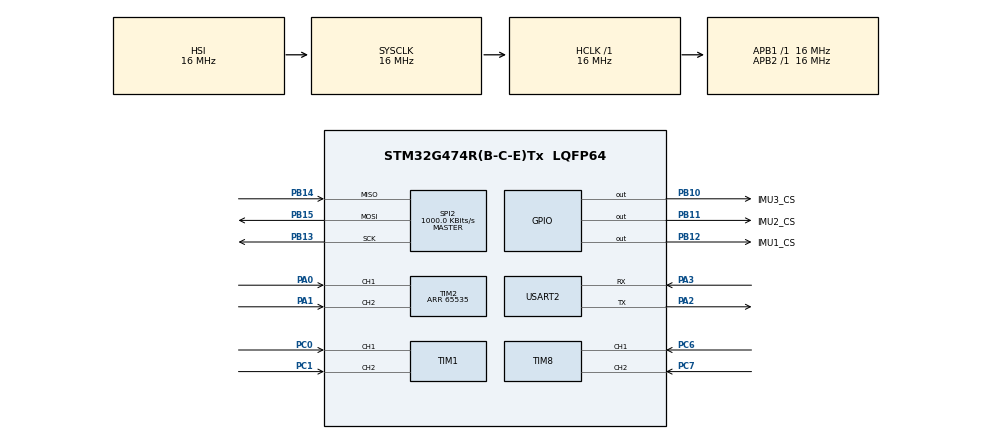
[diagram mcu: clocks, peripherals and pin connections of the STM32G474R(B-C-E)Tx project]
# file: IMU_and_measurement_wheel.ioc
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Dma.Request0=SPI2_RX
Dma.Request1=SPI2_TX
Dma.SPI2_RX.0.Direction=DMA_PERIPH_TO_MEMORY
Dma.SPI2_RX.0.EventEnable=DISABLE
Dma.SPI2_RX.0.Instance=DMA1_Channel1
Dma.SPI2_RX.0.MemDataAlignment=DMA_MDATAALIGN_BYTE
Dma.SPI2_RX.0.MemInc=DMA_MINC_ENABLE
Dma.SPI2_RX.0.Mode=DMA_NORMAL
Dma.SPI2_RX.0.PeriphDataAlignment=DMA_PDATAALIGN_BYTE
Dma.SPI2_RX.0.PeriphInc=DMA_PINC_DISABLE
Dma.SPI2_RX.0.Polarity=HAL_DMAMUX_REQ_GEN_RISING
Dma.SPI2_RX.0.Priority=DMA_PRIORITY_LOW
Dma.SPI2_RX.0.RequestNumber=1
Dma.SPI2_RX.0.SignalID=NONE
Dma.SPI2_RX.0.SyncEnable=DISABLE
Dma.SPI2_RX.0.SyncPolarity=HAL_DMAMUX_SYNC_NO_EVENT
Dma.SPI2_RX.0.SyncRequestNumber=1
Dma.SPI2_RX.0.SyncSignalID=NONE
Dma.SPI2_TX.1.Direction=DMA_MEMORY_TO_PERIPH
Dma.SPI2_TX.1.EventEnable=DISABLE
Dma.SPI2_TX.1.Instance=DMA1_Channel2
Dma.SPI2_TX.1.MemDataAlignment=DMA_MDATAALIGN_BYTE
Dma.SPI2_TX.1.MemInc=DMA_MINC_ENABLE
Dma.SPI2_TX.1.Mode=DMA_NORMAL
Dma.SPI2_TX.1.PeriphDataAlignment=DMA_PDATAALIGN_BYTE
Dma.SPI2_TX.1.PeriphInc=DMA_PINC_DISABLE
Dma.SPI2_TX.1.Polarity=HAL_DMAMUX_REQ_GEN_RISING
Dma.SPI2_TX.1.Priority=DMA_PRIORITY_LOW
Dma.SPI2_TX.1.RequestNumber=1
Dma.SPI2_TX.1.SignalID=NONE
Dma.SPI2_TX.1.SyncEnable=DISABLE
Dma.SPI2_TX.1.SyncPolarity=HAL_DMAMUX_SYNC_NO_EVENT
Dma.SPI2_TX.1.SyncRequestNumber=1
Dma.SPI2_TX.1.SyncSignalID=NONE
Mcu.Family=STM32G4
Mcu.Name=STM32G474R(B-C-E)Tx
Mcu.Package=LQFP64
NVIC.DMA1_Channel1_IRQn=true\:0\:0\:false\:false\:true\:false\:true\:true
NVIC.DMA1_Channel2_IRQn=true\:0\:0\:false\:false\:true\:false\:true\:true
NVIC.PriorityGroup=NVIC_PRIORITYGROUP_4
NVIC.SPI2_IRQn=true\:0\:0\:false\:false\:true\:true\:true\:true
NVIC.TIM6_DAC_IRQn=true\:0\:0\:false\:false\:true\:true\:true\:true
PA0.Signal=S_TIM2_CH1
PA1.Signal=S_TIM2_CH2
PA13.Mode=Serial_Wire
PA13.Signal=SYS_JTMS-SWDIO
PA14.Mode=Serial_Wire
PA14.Signal=SYS_JTCK-SWCLK
PA2.Mode=Asynchronous
PA2.Signal=USART2_TX
PA3.Mode=Asynchronous
PA3.Signal=USART2_RX
PB10.GPIO_Label=IMU3_CS
PB10.PinState=GPIO_PIN_SET
PB10.Signal=GPIO_Output
PB11.GPIO_Label=IMU2_CS
PB11.PinState=GPIO_PIN_SET
PB11.Signal=GPIO_Output
PB12.GPIO_Label=IMU1_CS
PB12.PinState=GPIO_PIN_SET
PB12.Signal=GPIO_Output
PB13.Mode=Full_Duplex_Master
PB13.Signal=SPI2_SCK
PB14.Mode=Full_Duplex_Master
PB14.Signal=SPI2_MISO
PB15.Mode=Full_Duplex_Master
PB15.Signal=SPI2_MOSI
PC0.Signal=S_TIM1_CH1
PC1.Signal=S_TIM1_CH2
PC6.Signal=S_TIM8_CH1
PC7.Signal=S_TIM8_CH2
ProjectManager.HeapSize=0x200
ProjectManager.StackSize=0x400
ProjectManager.TargetToolchain=CMake
RCC.AHBFreq_Value=16000000
RCC.APB1Freq_Value=16000000
RCC.APB1TimFreq_Value=16000000
RCC.APB2Freq_Value=16000000
RCC.APB2TimFreq_Value=16000000
RCC.CortexFreq_Value=16000000
RCC.EXTERNAL_CLOCK_VALUE=12288000
RCC.HCLKFreq_Value=16000000
RCC.HSE_VALUE=8000000
RCC.HSI48_VALUE=48000000
RCC.HSI_VALUE=16000000
RCC.LSE_VALUE=32768
RCC.SYSCLKFreq_VALUE=16000000
RCC.USBFreq_Value=64000000
RCC.VCOOutputFreq_Value=128000000
SH.S_TIM1_CH1.0=TIM1_CH1,Encoder_Interface
SH.S_TIM1_CH2.0=TIM1_CH2,Encoder_Interface
SH.S_TIM2_CH1.0=TIM2_CH1,Encoder_Interface
SH.S_TIM2_CH2.0=TIM2_CH2,Encoder_Interface
SH.S_TIM8_CH1.0=TIM8_CH1,Encoder_Interface
SH.S_TIM8_CH2.0=TIM8_CH2,Encoder_Interface
SPI2.BaudRatePrescaler=SPI_BAUDRATEPRESCALER_16
SPI2.CalculateBaudRate=1000.0 KBits/s
SPI2.DataSize=SPI_DATASIZE_8BIT
SPI2.Direction=SPI_DIRECTION_2LINES
SPI2.Mode=SPI_MODE_MASTER
SPI2.VirtualType=VM_MASTER
TIM1.EncoderMode=TIM_ENCODERMODE_TI12
TIM2.EncoderMode=TIM_ENCODERMODE_TI12
TIM2.PeriodNoDither=65535
TIM6.PeriodNoDither=99
TIM6.Prescaler=15999
TIM8.EncoderMode=TIM_ENCODERMODE_TI12
USART2.VirtualMode-Asynchronous=VM_ASYNC
VP_SYS_VS_DBSignals.Mode=DisableDeadBatterySignals
VP_TIM6_VS_ClockSourceINT.Mode=Enable_Timer
board=custom

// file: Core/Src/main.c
/* USER CODE BEGIN Header */
/**
  ******************************************************************************
  * @file           : main.c
  * @brief          : Main program body
  ******************************************************************************
  * @attention
  *
  * Copyright (c) 2026 STMicroelectronics.
  * All rights reserved.
  *
  * This software is licensed under terms that can be found in the LICENSE file
  * in the root directory of this software component.
  * If no LICENSE file comes with this software, it is provided AS-IS.
  *
  ******************************************************************************
  */
/* USER CODE END Header */
#include "main.h"
#include "stm32g474xx.h"
#include "stm32g4xx_hal_def.h"
#include "stm32g4xx_hal_gpio.h"
#include "stm32g4xx_hal_spi.h"
#include "stm32g4xx_hal_tim.h"

/* USER CODE BEGIN Includes */
#include <stdint.h>
#include <stdio.h>
/* USER CODE END Includes */

SPI_HandleTypeDef hspi2;
DMA_HandleTypeDef hdma_spi2_rx;
DMA_HandleTypeDef hdma_spi2_tx;

TIM_HandleTypeDef htim1;
TIM_HandleTypeDef htim2;
TIM_HandleTypeDef htim6;
TIM_HandleTypeDef htim8;

UART_HandleTypeDef huart2;

/* USER CODE BEGIN PV */

/*計測輪用*/
volatile uint8_t imu1_id = 0;                             // センサーから返ってきた識別値を保存する変数
volatile HAL_StatusTypeDef imu1_spi_status = HAL_ERROR;   // SPIの送受信処理が正常に終わったか保存

volatile uint8_t imu2_id = 0;
volatile HAL_StatusTypeDef imu2_spi_status = HAL_ERROR;

volatile uint8_t imu3_id = 0;
volatile HAL_StatusTypeDef imu3_spi_status = HAL_ERROR;

volatile uint8_t imu1_ctrl1 = 0;
volatile HAL_StatusTypeDef imu1_write_status = HAL_ERROR;
volatile HAL_StatusTypeDef imu1_read_status = HAL_ERROR;

volatile HAL_StatusTypeDef imu1_accel_config_status = HAL_ERROR;
volatile HAL_StatusTypeDef imu1_accel_status = HAL_ERROR;

uint8_t motion_tx[15] = {0x20 | 0x80};  //0x20は温度、0x22はジャイロセンサー、0x28は、加速度データが入っている最初のレジスタのアドレス 0x29とついていく
uint8_t motion_rx[15] = {0};

volatile uint32_t imu_tick = 0;

volatile int16_t temperture = 0;
volatile int16_t last_temperture = 0;

volatile int16_t  imu1_ax = 0;
volatile int16_t  imu1_ay = 0;
volatile int16_t  imu1_az = 0;
volatile int16_t  last_imu1_ax = 0;
volatile int16_t  last_imu1_ay = 0;
volatile int16_t  last_imu1_az = 0;

volatile int16_t imu1_gx = 0;
volatile int16_t imu1_gy = 0;
volatile int16_t imu1_gz = 0;
volatile int16_t last_imu1_gx = 0;
volatile int16_t last_imu1_gy = 0;
volatile int16_t last_imu1_gz = 0;

static volatile uint8_t imu1_dma_busy = 0;  // IMU1のDMA転送が進行中かどうかを覚える変数 0	空いている
volatile uint32_t imu1_sample_count = 0;
volatile uint32_t imu1_dma_errors = 0;

/*計測輪*/
volatile uint16_t enc1_count = 0;

static uint16_t enc1_previous = 0;
volatile int32_t enc1_delta = 0;

/* USER CODE END PV */

void SystemClock_Config(void);
static void MX_GPIO_Init(void);
static void MX_DMA_Init(void);
static void MX_SPI2_Init(void);
static void MX_TIM1_Init(void);
static void MX_TIM2_Init(void);
static void MX_TIM8_Init(void);
static void MX_USART2_UART_Init(void);
static void MX_TIM6_Init(void);
/* USER CODE BEGIN PFP */
int _write(int file, char *ptr, int len);
void HAL_TIM_PeriodElapsedCallback(TIM_HandleTypeDef *htim);
/* USER CODE END PFP */

/* USER CODE BEGIN 0 */
void HAL_SPI_TxRxCpltCallback(SPI_HandleTypeDef *hspi) {

  if (hspi ->Instance != SPI2 || !imu1_dma_busy) {
    return;
  }

  HAL_GPIO_WritePin(IMU1_CS_GPIO_Port, IMU1_CS_Pin, GPIO_PIN_SET);

  if (imu1_accel_status == HAL_OK) {  // accel_rx[0]	命令送信中の受信値

    temperture = (int16_t)(((uint16_t)motion_rx[2] << 8 | motion_rx[1]));

    imu1_gx = (int16_t)(((uint16_t)motion_rx[4] << 8) | motion_rx[3]);
    imu1_gy = (int16_t)(((uint16_t)motion_rx[6] << 8) | motion_rx[5]);
    imu1_gz = (int16_t)(((uint16_t)motion_rx[8] << 8) | motion_rx[7]);

    imu1_ax = (int16_t)(((uint16_t)motion_rx[10]  << 8) | motion_rx[9]);
    imu1_ay = (int16_t)(((uint16_t)motion_rx[12] << 8) | motion_rx[11]);
    imu1_az = (int16_t)(((uint16_t)motion_rx[14] << 8) | motion_rx[13]);

    /*　意味のある数字に変換している　filterもかけている*/
    temperture = (int16_t)((temperture /256.0 + 25.0) * 0.3 + last_temperture * 0.7);;  //度数に変更
    last_temperture = temperture;

    imu1_gx = (int16_t)(imu1_gx * 4.375 / 1000.0) * 0.3 + last_imu1_gx * 0.7;           //°/s
    last_imu1_gx = imu1_gx;
    imu1_gy = (int16_t)(imu1_gy * 4.375 / 1000.0) * 0.3 + last_imu1_gy * 0.7;
    last_imu1_gy = imu1_gy;
    imu1_gz = (int16_t)(imu1_gz * 4.375 / 1000.0) * 0.3 + last_imu1_gz * 0.7;
    last_imu1_gz = imu1_gz;

    imu1_ax = (int16_t)(imu1_ax * 0.061 / 1000.0 * 9.80665) * 0.3 + last_imu1_ax * 0.7;  // m / s^2に変更
    last_imu1_ax = imu1_ax;
    imu1_ay = (int16_t)(imu1_ay * 0.061 / 1000.0 * 9.80665) * 0.3 + last_imu1_ay * 0.7;
    last_imu1_ay = imu1_ay;
    imu1_az = (int16_t)(imu1_az * 0.061 / 1000.0 * 9.80665) * 0.3 + last_imu1_az * 0.7;
    last_imu1_az = imu1_az;

    imu1_sample_count++;
    imu1_dma_busy = 0;
  }

}

void HAL_SPI_ErrorCallback(SPI_HandleTypeDef *hspi) {

  if (hspi -> Instance == SPI2 && imu1_dma_busy) {
    HAL_GPIO_WritePin(IMU1_CS_GPIO_Port, IMU1_CS_Pin,  GPIO_PIN_RESET);
    imu1_dma_errors++;
    imu1_dma_busy = 0;
  }

}

int _write(int file, char *ptr, int len)
{
  (void)file;
  HAL_UART_Transmit(&huart2, (uint8_t*)ptr, (uint16_t)len, HAL_MAX_DELAY);
  return len;
}

void HAL_TIM_PeriodElapsedCallback(TIM_HandleTypeDef *htim) {

  if (htim ->Instance == TIM6) {

    /* 計測輪 */
    //enc1_count = (uint16_t)__HAL_TIM_GET_COUNTER(&htim2);
    uint16_t current = (uint16_t)__HAL_TIM_GET_COUNTER(&htim2);  // TIM2の現在値をcurrentに
    int32_t delta = (int32_t)current - enc1_previous;            // 前回値のと差を計算

    /* カウンタが65535 ↔ 0の境界をまたいだときの補正*/
    if (delta > 32767) {
      delta -= 65536;
    }
    else if (delta < -32768) {
      delta += 65536;
    }

    enc1_count = current;        // 現在のカウンタ値を記録
    enc1_delta = delta;          // 今回の100 msで動いた量を記録
    enc1_previous = current;     // 今回値を、次回の引き算の基準にする

    /* ここからIMU */
    if (!imu1_dma_busy) {
      imu1_dma_busy = 1;
      HAL_GPIO_WritePin(IMU1_CS_GPIO_Port, IMU1_CS_Pin, GPIO_PIN_RESET);
      imu1_accel_status = HAL_SPI_TransmitReceive_DMA(&hspi2, motion_tx, motion_rx, sizeof(motion_tx));  // SPIの送信と受信をDMAで同時に始める関数ここで15バイトのデータ受信
    }

    if (imu1_accel_status != HAL_OK){
      HAL_GPIO_WritePin(IMU1_CS_GPIO_Port, IMU1_CS_Pin, GPIO_PIN_SET);
      imu1_dma_errors++;
      imu1_dma_busy = 0;
    }
  }

}
/* USER CODE END 0 */

int main(void)
{

  /* MCU Configuration--------------------------------------------------------*/

  /* Reset of all peripherals, Initializes the Flash interface and the Systick. */
  HAL_Init();

  /* Configure the system clock */
  SystemClock_Config();

  /* Initialize all configured peripherals */
  MX_GPIO_Init();
  MX_DMA_Init();
  MX_SPI2_Init();
  MX_TIM1_Init();
  MX_TIM2_Init();
  MX_TIM8_Init();
  MX_USART2_UART_Init();
  MX_TIM6_Init();
  /* USER CODE BEGIN 2 */
  //printf("hello world\n");
  HAL_Delay(100);                                             // 起動順位

  uint8_t tx[2] = {0x0F | 0x80, 0x00};                      // 送信する2バイト 0x80で読み取りの意味 0x0Fを読み取る 0x0Fは、センサーの識別値が入った`WHO_AM_I`レジスタのアドレス ,は配列の値区切り
  uint8_t rx[2] = {0};                                              // 受信する2バイト

  // /*IMU1_CS_GPIO_Port	GPIOB	Bポート IMU1_CS_Pin	GPIO_PIN_12	12番ピン*/
  // HAL_GPIO_WritePin(IMU1_CS_GPIO_Port, IMU1_CS_Pin, GPIO_PIN_RESET);           // IMU1を選択する
  // imu1_spi_status = HAL_SPI_TransmitReceive(&hspi2, tx, rx, 2, 100);// SPI2で2バイトを送信し、同時に2バイトを受信する &hspi2はspi2を意味している(どのspiか, 送信, 受信, 8bit設定より2バイト, 完了を待つ時間ms)
  // HAL_GPIO_WritePin(IMU1_CS_GPIO_Port, IMU1_CS_Pin, GPIO_PIN_SET);             // IMU1との通信を終了する

  // // 通信処理が正常に終わった場合、識別値を保存する
  // if (imu1_spi_status == HAL_OK){
  //   imu1_id = rx[1];
  // }

  // HAL_GPIO_WritePin(IMU2_CS_GPIO_Port, IMU2_CS_Pin, GPIO_PIN_RESET);
  // imu2_spi_status = HAL_SPI_TransmitReceive(&hspi2, tx, rx, 2, 100);
  // HAL_GPIO_WritePin(IMU2_CS_GPIO_Port, IMU2_CS_Pin, GPIO_PIN_SET);

  // if (imu2_spi_status == HAL_OK){
  //   imu2_id = rx[1];
  // }

  // HAL_GPIO_WritePin(IMU3_CS_GPIO_Port, IMU3_CS_Pin, GPIO_PIN_RESET);
  // imu3_spi_status = HAL_SPI_TransmitReceive(&hspi2, tx, rx, 2, 100);
  // HAL_GPIO_WritePin(IMU3_CS_GPIO_Port, IMU3_CS_Pin, GPIO_PIN_SET);

  // if (imu3_spi_status == HAL_OK){
  //   imu3_id = rx[1];
  // }

  // CTRLへ設定を書き込む 0x06を書き込む120Hz 最上位bitが0なので0x10は書き込み命令で0x10レジスタに書き込む
  tx[0] = 0x10;
  tx[1] = 0x06;

  HAL_GPIO_WritePin(IMU1_CS_GPIO_Port, IMU1_CS_Pin, GPIO_PIN_RESET);
  imu1_write_status = HAL_SPI_TransmitReceive(&hspi2, tx, rx, 2, 100);
  HAL_GPIO_WritePin(IMU1_CS_GPIO_Port, IMU1_CS_Pin, GPIO_PIN_SET);

  // // CTRL1を読み返す    0x10 | 0x80 = 0x90 0x00は返答を受け取るためのダミー 0x90は最上位bitが1なので読み取り命令 0x10を読み取る
  // tx[0] = 0x10 | 0x80;
  // tx[1] = 0x00;

  // HAL_GPIO_WritePin(IMU1_CS_GPIO_Port, IMU1_CS_Pin, GPIO_PIN_RESET);
  // imu1_read_status = HAL_SPI_TransmitReceive(&hspi2, tx, rx, 2, 100);
  // HAL_GPIO_WritePin(IMU1_CS_GPIO_Port, IMU1_CS_Pin, GPIO_PIN_SET);

  // if (imu1_read_status == HAL_OK){
  //   imu1_ctrl1 = rx[1];
  // }

  // tx[0] = 0x12;
  // tx[1] = 0x44;  //BDUとIF_INCを有効にする設定

  // HAL_GPIO_WritePin(IMU1_CS_GPIO_Port, IMU1_CS_Pin, GPIO_PIN_RESET);
  // imu1_accel_config_status = HAL_SPI_TransmitReceive(&hspi2, tx, rx, 2, 100);
  // HAL_GPIO_WritePin(IMU1_CS_GPIO_Port, IMU1_CS_Pin, GPIO_PIN_SET);

  // if (imu1_accel_config_status != HAL_OK) {
  //   Error_Handler();
  // }

  tx[0] = 0x11;
  tx[1] = 0x06;

  HAL_GPIO_WritePin(IMU1_CS_GPIO_Port, IMU1_CS_Pin, GPIO_PIN_RESET);
  HAL_StatusTypeDef gyro_config_status = HAL_SPI_TransmitReceive(&hspi2, tx, rx, 2, 100);
  HAL_GPIO_WritePin(IMU1_CS_GPIO_Port, IMU1_CS_Pin, GPIO_PIN_SET);

  if (gyro_config_status != HAL_OK){
    Error_Handler();
  }

  /* TIM2初期化 */

  // if (HAL_TIM_Base_Start(&htim2) != HAL_OK) {
  //   Error_Handler();
  // }
  //__HAL_TIM_SET_COUNTER(&htim2, 1234);  // TIM2が現在数えている値を、手動で1234にセット
  if (HAL_TIM_Encoder_Start(&htim2, TIM_CHANNEL_ALL) != HAL_OK) {  // TIMxのエンコーダモードを開始
    Error_Handler();
  }

  enc1_previous = (uint16_t)__HAL_TIM_GET_COUNTER(&htim2);    // 初期の値を計測

  /* TIM6初期化 */
  HAL_Delay(100);

  //uint32_t last_imu_tick = 0;
  __HAL_TIM_CLEAR_FLAG(&htim6, TIM_FLAG_UPDATE);

  if (HAL_TIM_Base_Start_IT(&htim6) != HAL_OK) {  //タイマースタート
    Error_Handler();
  }

  /* USER CODE END 2 */

  /* Infinite loop */
  while (1)
  {

    /* USER CODE BEGIN 3 */
    HAL_Delay(100);

    // uint32_t tick = imu_tick;

    // if (tick == last_imu_tick){  //タイマーから値が来たか確認　来ていたら値が増えるので !=であり、while内の動作が行われる
    //   continue;
    // }

    // last_imu_tick = tick;

    // uint8_t motion_tx[15] = {0x20 | 0x80};  //0x20は温度、0x22はジャイロセンサー、0x28は、加速度データが入っている最初のレジスタのアドレス 0x29とついていく
    // uint8_t motion_rx[15] = {0};
    // HAL_GPIO_WritePin(IMU1_CS_GPIO_Port, IMU1_CS_Pin, GPIO_PIN_RESET);
    // imu1_accel_status = HAL_SPI_TransmitReceive(&hspi2, motion_tx, motion_rx, 15, 100);
    // HAL_GPIO_WritePin(IMU1_CS_GPIO_Port, IMU1_CS_Pin, GPIO_PIN_SET);

    // if (imu1_accel_status == HAL_OK) {  // accel_rx[0]	命令送信中の受信値

    //   temperture = (int16_t)(((uint16_t)motion_rx[2] << 8 | motion_rx[1]));

    //   imu1_gx = (int16_t)(((uint16_t)motion_rx[4] << 8) | motion_rx[3]);
    //   imu1_gy = (int16_t)(((uint16_t)motion_rx[6] << 8) | motion_rx[5]);
    //   imu1_gz = (int16_t)(((uint16_t)motion_rx[8] << 8) | motion_rx[7]);

    //   imu1_ax = (int16_t)(((uint16_t)motion_rx[10]  << 8) | motion_rx[9]);
    //   imu1_ay = (int16_t)(((uint16_t)motion_rx[12] << 8) | motion_rx[11]);
    //   imu1_az = (int16_t)(((uint16_t)motion_rx[14] << 8) | motion_rx[13]);
    // }

    printf("enc1_count=%u enc1_delta=%ld\r\n", (unsigned int)enc1_count, (long)enc1_delta);
    printf("temperture = %d imu1_gx = %d imu1_gy = %d imu1_gz = %d imu1_ax = %d imu1_ay = %d imu1_az = %d\n",temperture, imu1_gx, imu1_gy, imu1_gz, imu1_ax, imu1_ay, imu1_az);
    //printf("enc1_count = %d\n", enc1_count);
  }
  /* USER CODE END 3 */
}

void SystemClock_Config(void)
{
  RCC_OscInitTypeDef RCC_OscInitStruct = {0};
  RCC_ClkInitTypeDef RCC_ClkInitStruct = {0};

  /** Configure the main internal regulator output voltage
  */
  HAL_PWREx_ControlVoltageScaling(PWR_REGULATOR_VOLTAGE_SCALE1);

  /** Initializes the RCC Oscillators according to the specified parameters
  * in the RCC_OscInitTypeDef structure.
  */
  RCC_OscInitStruct.OscillatorType = RCC_OSCILLATORTYPE_HSI;
  RCC_OscInitStruct.HSIState = RCC_HSI_ON;
  RCC_OscInitStruct.HSICalibrationValue = RCC_HSICALIBRATION_DEFAULT;
  RCC_OscInitStruct.PLL.PLLState = RCC_PLL_NONE;
  if (HAL_RCC_OscConfig(&RCC_OscInitStruct) != HAL_OK)
  {
    Error_Handler();
  }

  /** Initializes the CPU, AHB and APB buses clocks
  */
  RCC_ClkInitStruct.ClockType = RCC_CLOCKTYPE_HCLK|RCC_CLOCKTYPE_SYSCLK
                              |RCC_CLOCKTYPE_PCLK1|RCC_CLOCKTYPE_PCLK2;
  RCC_ClkInitStruct.SYSCLKSource = RCC_SYSCLKSOURCE_HSI;
  RCC_ClkInitStruct.AHBCLKDivider = RCC_SYSCLK_DIV1;
  RCC_ClkInitStruct.APB1CLKDivider = RCC_HCLK_DIV1;
  RCC_ClkInitStruct.APB2CLKDivider = RCC_HCLK_DIV1;

  if (HAL_RCC_ClockConfig(&RCC_ClkInitStruct, FLASH_LATENCY_0) != HAL_OK)
  {
    Error_Handler();
  }
}

static void MX_SPI2_Init(void)
{

  /* SPI2 parameter configuration*/
  hspi2.Instance = SPI2;
  hspi2.Init.Mode = SPI_MODE_MASTER;
  hspi2.Init.Direction = SPI_DIRECTION_2LINES;
  hspi2.Init.DataSize = SPI_DATASIZE_8BIT;
  hspi2.Init.CLKPolarity = SPI_POLARITY_LOW;
  hspi2.Init.CLKPhase = SPI_PHASE_1EDGE;
  hspi2.Init.NSS = SPI_NSS_SOFT;
  hspi2.Init.BaudRatePrescaler = SPI_BAUDRATEPRESCALER_16;
  hspi2.Init.FirstBit = SPI_FIRSTBIT_MSB;
  hspi2.Init.TIMode = SPI_TIMODE_DISABLE;
  hspi2.Init.CRCCalculation = SPI_CRCCALCULATION_DISABLE;
  hspi2.Init.CRCPolynomial = 7;
  hspi2.Init.CRCLength = SPI_CRC_LENGTH_DATASIZE;
  hspi2.Init.NSSPMode = SPI_NSS_PULSE_ENABLE;
  if (HAL_SPI_Init(&hspi2) != HAL_OK)
  {
    Error_Handler();
  }

}

static void MX_TIM1_Init(void)
{

  TIM_Encoder_InitTypeDef sConfig = {0};
  TIM_MasterConfigTypeDef sMasterConfig = {0};

  htim1.Instance = TIM1;
  htim1.Init.Prescaler = 0;
  htim1.Init.CounterMode = TIM_COUNTERMODE_UP;
  htim1.Init.Period = 65535;
  htim1.Init.ClockDivision = TIM_CLOCKDIVISION_DIV1;
  htim1.Init.RepetitionCounter = 0;
  htim1.Init.AutoReloadPreload = TIM_AUTORELOAD_PRELOAD_DISABLE;
  sConfig.EncoderMode = TIM_ENCODERMODE_TI12;
  sConfig.IC1Polarity = TIM_ICPOLARITY_RISING;
  sConfig.IC1Selection = TIM_ICSELECTION_DIRECTTI;
  sConfig.IC1Prescaler = TIM_ICPSC_DIV1;
  sConfig.IC1Filter = 0;
  sConfig.IC2Polarity = TIM_ICPOLARITY_RISING;
  sConfig.IC2Selection = TIM_ICSELECTION_DIRECTTI;
  sConfig.IC2Prescaler = TIM_ICPSC_DIV1;
  sConfig.IC2Filter = 0;
  if (HAL_TIM_Encoder_Init(&htim1, &sConfig) != HAL_OK)
  {
    Error_Handler();
  }
  sMasterConfig.MasterOutputTrigger = TIM_TRGO_RESET;
  sMasterConfig.MasterOutputTrigger2 = TIM_TRGO2_RESET;
  sMasterConfig.MasterSlaveMode = TIM_MASTERSLAVEMODE_DISABLE;
  if (HAL_TIMEx_MasterConfigSynchronization(&htim1, &sMasterConfig) != HAL_OK)
  {
    Error_Handler();
  }

}

static void MX_TIM2_Init(void)
{

  TIM_Encoder_InitTypeDef sConfig = {0};
  TIM_MasterConfigTypeDef sMasterConfig = {0};

  htim2.Instance = TIM2;
  htim2.Init.Prescaler = 0;
  htim2.Init.CounterMode = TIM_COUNTERMODE_UP;
  htim2.Init.Period = 65535;
  htim2.Init.ClockDivision = TIM_CLOCKDIVISION_DIV1;
  htim2.Init.AutoReloadPreload = TIM_AUTORELOAD_PRELOAD_DISABLE;
  sConfig.EncoderMode = TIM_ENCODERMODE_TI12;
  sConfig.IC1Polarity = TIM_ICPOLARITY_RISING;
  sConfig.IC1Selection = TIM_ICSELECTION_DIRECTTI;
  sConfig.IC1Prescaler = TIM_ICPSC_DIV1;
  sConfig.IC1Filter = 0;
  sConfig.IC2Polarity = TIM_ICPOLARITY_RISING;
  sConfig.IC2Selection = TIM_ICSELECTION_DIRECTTI;
  sConfig.IC2Prescaler = TIM_ICPSC_DIV1;
  sConfig.IC2Filter = 0;
  if (HAL_TIM_Encoder_Init(&htim2, &sConfig) != HAL_OK)
  {
    Error_Handler();
  }
  sMasterConfig.MasterOutputTrigger = TIM_TRGO_RESET;
  sMasterConfig.MasterSlaveMode = TIM_MASTERSLAVEMODE_DISABLE;
  if (HAL_TIMEx_MasterConfigSynchronization(&htim2, &sMasterConfig) != HAL_OK)
  {
    Error_Handler();
  }

}

static void MX_TIM6_Init(void)
{

  TIM_MasterConfigTypeDef sMasterConfig = {0};

  htim6.Instance = TIM6;
  htim6.Init.Prescaler = 15999;
  htim6.Init.CounterMode = TIM_COUNTERMODE_UP;
  htim6.Init.Period = 99;
  htim6.Init.AutoReloadPreload = TIM_AUTORELOAD_PRELOAD_DISABLE;
  if (HAL_TIM_Base_Init(&htim6) != HAL_OK)
  {
    Error_Handler();
  }
  sMasterConfig.MasterOutputTrigger = TIM_TRGO_RESET;
  sMasterConfig.MasterSlaveMode = TIM_MASTERSLAVEMODE_DISABLE;
  if (HAL_TIMEx_MasterConfigSynchronization(&htim6, &sMasterConfig) != HAL_OK)
  {
    Error_Handler();
  }

}

static void MX_TIM8_Init(void)
{

  TIM_Encoder_InitTypeDef sConfig = {0};
  TIM_MasterConfigTypeDef sMasterConfig = {0};

  htim8.Instance = TIM8;
  htim8.Init.Prescaler = 0;
  htim8.Init.CounterMode = TIM_COUNTERMODE_UP;
  htim8.Init.Period = 65535;
  htim8.Init.ClockDivision = TIM_CLOCKDIVISION_DIV1;
  htim8.Init.RepetitionCounter = 0;
  htim8.Init.AutoReloadPreload = TIM_AUTORELOAD_PRELOAD_DISABLE;
  sConfig.EncoderMode = TIM_ENCODERMODE_TI12;
  sConfig.IC1Polarity = TIM_ICPOLARITY_RISING;
  sConfig.IC1Selection = TIM_ICSELECTION_DIRECTTI;
  sConfig.IC1Prescaler = TIM_ICPSC_DIV1;
  sConfig.IC1Filter = 0;
  sConfig.IC2Polarity = TIM_ICPOLARITY_RISING;
  sConfig.IC2Selection = TIM_ICSELECTION_DIRECTTI;
  sConfig.IC2Prescaler = TIM_ICPSC_DIV1;
  sConfig.IC2Filter = 0;
  if (HAL_TIM_Encoder_Init(&htim8, &sConfig) != HAL_OK)
  {
    Error_Handler();
  }
  sMasterConfig.MasterOutputTrigger = TIM_TRGO_RESET;
  sMasterConfig.MasterOutputTrigger2 = TIM_TRGO2_RESET;
  sMasterConfig.MasterSlaveMode = TIM_MASTERSLAVEMODE_DISABLE;
  if (HAL_TIMEx_MasterConfigSynchronization(&htim8, &sMasterConfig) != HAL_OK)
  {
    Error_Handler();
  }

}

static void MX_USART2_UART_Init(void)
{

  huart2.Instance = USART2;
  huart2.Init.BaudRate = 115200;
  huart2.Init.WordLength = UART_WORDLENGTH_8B;
  huart2.Init.StopBits = UART_STOPBITS_1;
  huart2.Init.Parity = UART_PARITY_NONE;
  huart2.Init.Mode = UART_MODE_TX_RX;
  huart2.Init.HwFlowCtl = UART_HWCONTROL_NONE;
  huart2.Init.OverSampling = UART_OVERSAMPLING_16;
  huart2.Init.OneBitSampling = UART_ONE_BIT_SAMPLE_DISABLE;
  huart2.Init.ClockPrescaler = UART_PRESCALER_DIV1;
  huart2.AdvancedInit.AdvFeatureInit = UART_ADVFEATURE_NO_INIT;
  if (HAL_UART_Init(&huart2) != HAL_OK)
  {
    Error_Handler();
  }
  if (HAL_UARTEx_SetTxFifoThreshold(&huart2, UART_TXFIFO_THRESHOLD_1_8) != HAL_OK)
  {
    Error_Handler();
  }
  if (HAL_UARTEx_SetRxFifoThreshold(&huart2, UART_RXFIFO_THRESHOLD_1_8) != HAL_OK)
  {
    Error_Handler();
  }
  if (HAL_UARTEx_DisableFifoMode(&huart2) != HAL_OK)
  {
    Error_Handler();
  }

}

static void MX_DMA_Init(void)
{

  /* DMA controller clock enable */
  __HAL_RCC_DMAMUX1_CLK_ENABLE();
  __HAL_RCC_DMA1_CLK_ENABLE();

  /* DMA interrupt init */
  /* DMA1_Channel1_IRQn interrupt configuration */
  HAL_NVIC_SetPriority(DMA1_Channel1_IRQn, 0, 0);
  HAL_NVIC_EnableIRQ(DMA1_Channel1_IRQn);
  /* DMA1_Channel2_IRQn interrupt configuration */
  HAL_NVIC_SetPriority(DMA1_Channel2_IRQn, 0, 0);
  HAL_NVIC_EnableIRQ(DMA1_Channel2_IRQn);

}

static void MX_GPIO_Init(void)
{
  GPIO_InitTypeDef GPIO_InitStruct = {0};

  /* GPIO Ports Clock Enable */
  __HAL_RCC_GPIOC_CLK_ENABLE();
  __HAL_RCC_GPIOA_CLK_ENABLE();
  __HAL_RCC_GPIOB_CLK_ENABLE();

  /*Configure GPIO pin Output Level */
  HAL_GPIO_WritePin(GPIOB, IMU3_CS_Pin|IMU2_CS_Pin|IMU1_CS_Pin, GPIO_PIN_SET);

  /*Configure GPIO pins : IMU3_CS_Pin IMU2_CS_Pin IMU1_CS_Pin */
  GPIO_InitStruct.Pin = IMU3_CS_Pin|IMU2_CS_Pin|IMU1_CS_Pin;
  GPIO_InitStruct.Mode = GPIO_MODE_OUTPUT_PP;
  GPIO_InitStruct.Pull = GPIO_NOPULL;
  GPIO_InitStruct.Speed = GPIO_SPEED_FREQ_LOW;
  HAL_GPIO_Init(GPIOB, &GPIO_InitStruct);

}

void Error_Handler(void)
{
  __disable_irq();
  while (1)
  {
  }
}
